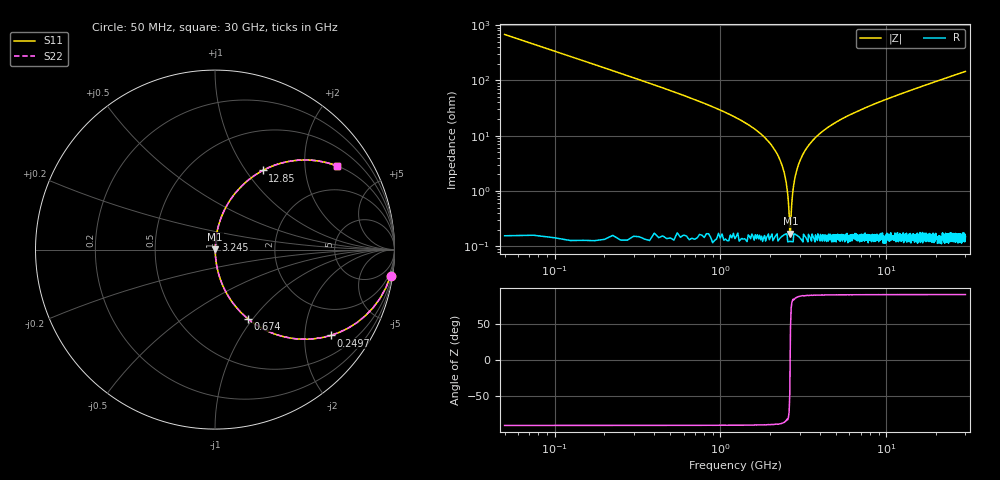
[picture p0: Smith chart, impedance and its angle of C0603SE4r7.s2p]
!	AVX Thin Film Operation 	Date: April 2014
!	Description: Accu-P® Series, Thin Film  SMD RF Capacitor
!	Part Number: 06035J4R7ABSTR
# MHZ S MA R 50
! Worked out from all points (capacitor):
!   1201 points, 50 MHz to 30 GHz, reference 50 ohm
!   read as one part in series: C = 4.7 pF near 199.8 MHz
!   lowest |Z| = 169 mohm at 2.646 GHz (marker M1)
!   series resonance near 2.634 GHz, so ESL is about 780 pH
!   S11 on the Smith chart (normalised r, x): 50 MHz: 1, -14; 249.7 MHz: 1.00, -2.69; 674 MHz: 1.00, -0.94; 3.245 GHz: 1.00, +0.11; 12.85 GHz: 1.00, +1.20; 30 GHz: 1.01, +2.91
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50  0.989 -8.4  0.146 81.6  0.146 81.6  0.989 -8.4
249.667  0.802 -36.6  0.597 53.3  0.597 53.3  0.802 -36.6
449.333  0.59 -53.7  0.806 36.2  0.806 36.2  0.59 -53.7
673.958  0.425 -64.7  0.904 25.1  0.904 25.1  0.425 -64.7
1148.167  0.232 -76.2  0.971 13.4  0.971 13.4  0.232 -76.2
2071.625  0.062 -85.1  0.997 3.6  0.997 3.6  0.062 -85.1
2321.208  0.033 -85.6  0.998 1.9  0.998 1.9  0.033 -85.6
2421.042  0.022 -85.0  0.998 1.2  0.998 1.2  0.022 -85.0
2520.875  0.011 -82.1  0.998 0.6  0.998 0.6  0.011 -82.1
2645.667  0.001852 39.0  0.999 -0.1  0.999 -0.1  0.001852 39.0
2745.5  0.011 81.7  0.999 -0.6  0.999 -0.6  0.011 81.7
2845.333  0.02 84.7  0.998 -1.1  0.998 -1.1  0.02 84.7
2945.167  0.029 85.5  0.998 -1.6  0.998 -1.6  0.029 85.5
3244.667  0.054 85.4  0.997 -3.1  0.997 -3.1  0.054 85.4
3893.583  0.102 83.3  0.993 -5.9  0.993 -5.9  0.102 83.3
5041.667  0.176 79.4  0.983 -10.1  0.983 -10.1  0.176 79.4
10058.29  0.415 65.3  0.908 -24.5  0.908 -24.5  0.415 65.3
12853.62  0.515 58.9  0.856 -31.0  0.856 -31.0  0.515 58.9
15025  0.579 54.5  0.814 -35.4  0.814 -35.4  0.579 54.5
20016.67  0.692 46.1  0.721 -43.8  0.721 -43.8  0.692 46.1
25033.29  0.77 39.6  0.637 -50.4  0.637 -50.4  0.77 39.6
30000  0.823 34.5  0.567 -55.4  0.567 -55.4  0.823 34.5
